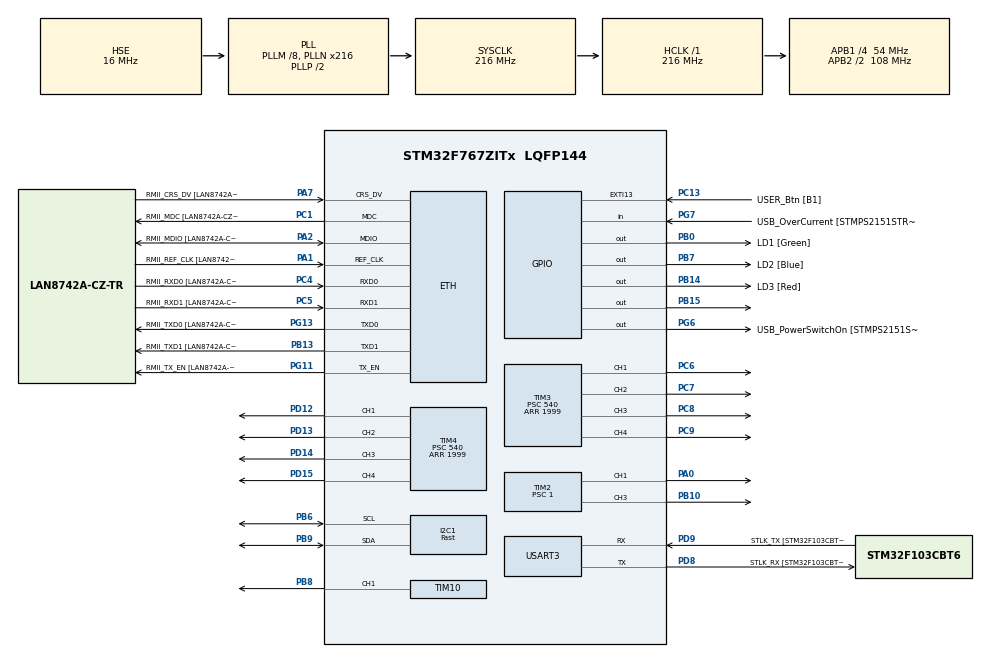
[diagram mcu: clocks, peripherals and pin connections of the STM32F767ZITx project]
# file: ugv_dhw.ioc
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CORTEX_M7.AccessPermission-Cortex_Memory_Protection_Unit_Region0_Settings=MPU_REGION_FULL_ACCESS
CORTEX_M7.BaseAddress-Cortex_Memory_Protection_Unit_Region0_Settings=0x2007c000
CORTEX_M7.CPU_DCache=Enabled
CORTEX_M7.CPU_ICache=Enabled
CORTEX_M7.DisableExec-Cortex_Memory_Protection_Unit_Region0_Settings=MPU_INSTRUCTION_ACCESS_DISABLE
CORTEX_M7.Enable-Cortex_Memory_Protection_Unit_Region0_Settings=MPU_REGION_ENABLE
CORTEX_M7.IsShareable-Cortex_Memory_Protection_Unit_Region0_Settings=MPU_ACCESS_SHAREABLE
CORTEX_M7.MPU_Control=MPU_PRIVILEGED_DEFAULT
CORTEX_M7.PREFETCH_ENABLE=1
CORTEX_M7.Size-Cortex_Memory_Protection_Unit_Region0_Settings=MPU_REGION_SIZE_16KB
CORTEX_M7.TypeExtField-Cortex_Memory_Protection_Unit_Region0_Settings=MPU_TEX_LEVEL1
ETH.MACAddr=00\:80\:E1\:00\:00\:20
ETH.MediaInterface=HAL_ETH_RMII_MODE
I2C1.I2C_Speed_Mode=I2C_Fast
I2C1.Timing=0x6000030D
LWIP.BSP.number=1
LWIP.GATEWAY_ADDRESS=192.168.040.001
LWIP.IP_ADDRESS=192.168.020.042
LWIP.LWIP_DHCP=0
LWIP.MEM_SIZE=10*1024
LWIP.NETMASK_ADDRESS=255.255.255.000
LWIP.Version=v2.1.2_Cube
LWIP0.BSP.STBoard=false
LWIP0.BSP.api=BSP_COMPONENT_DRIVER
LWIP0.BSP.component=LAN8742
LWIP0.BSP.instance=LAN8742
LWIP0.BSP.name=Driver_PHY
LWIP0.BSP.semaphore=S_LAN8742
LWIP0.BSP.solution=LAN8742
Mcu.Family=STM32F7
Mcu.Name=STM32F767ZITx
Mcu.Package=LQFP144
NVIC.ETH_IRQn=true\:0\:0\:false\:false\:true\:true\:true\:true
NVIC.I2C1_ER_IRQn=true\:0\:0\:false\:false\:true\:true\:true\:true
NVIC.I2C1_EV_IRQn=true\:0\:0\:false\:false\:true\:true\:true\:true
NVIC.PriorityGroup=NVIC_PRIORITYGROUP_4
NVIC.TIM1_BRK_TIM9_IRQn=true\:0\:0\:false\:false\:true\:true\:true\:true
NVIC.TIM1_UP_TIM10_IRQn=true\:0\:0\:false\:false\:true\:true\:true\:true
NVIC.TIM8_UP_TIM13_IRQn=true\:0\:0\:false\:false\:true\:true\:true\:true
PA0/WKUP.Signal=S_TIM2_CH1_ETR
PA1.GPIO_Label=RMII_REF_CLK [LAN8742A-CZ-TR_REFCLK0]
PA1.Mode=RMII
PA1.Signal=ETH_REF_CLK
PA10.GPIO_Label=USB_ID
PA10.Signal=USB_OTG_FS_ID
PA11.GPIO_Label=USB_DM
PA11.Signal=USB_OTG_FS_DM
PA12.GPIO_Label=USB_DP
PA12.Signal=USB_OTG_FS_DP
PA13.GPIO_Label=TMS
PA13.Signal=SYS_JTMS-SWDIO
PA14.GPIO_Label=TCK
PA14.Signal=SYS_JTCK-SWCLK
PA2.GPIO_Label=RMII_MDIO [LAN8742A-CZ-TR_MDIO]
PA2.Mode=RMII
PA2.Signal=ETH_MDIO
PA7.GPIO_Label=RMII_CRS_DV [LAN8742A-CZ-TR_CRS_DV]
PA7.Mode=RMII
PA7.Signal=ETH_CRS_DV
PA8.GPIO_Label=USB_SOF [TP1]
PA8.Signal=USB_OTG_FS_SOF
PA9.GPIO_Label=USB_VBUS
PA9.Signal=USB_OTG_FS_VBUS
PB0.GPIO_Label=LD1 [Green]
PB0.Signal=GPIO_Output
PB10.Signal=S_TIM2_CH3
PB13.GPIO_Label=RMII_TXD1 [LAN8742A-CZ-TR_TXD1]
PB13.Mode=RMII
PB13.Signal=ETH_TXD1
PB14.GPIO_Label=LD3 [Red]
PB14.Signal=GPIO_Output
PB15.Signal=GPIO_Output
PB3.GPIO_Label=SW0
PB3.Signal=SYS_JTDO-SWO
PB6.GPIO_Pu=GPIO_PULLUP
PB6.Mode=I2C
PB6.Signal=I2C1_SCL
PB7.GPIO_Label=LD2 [Blue]
PB7.Signal=GPIO_Output
PB8.Signal=S_TIM10_CH1
PB9.GPIO_Pu=GPIO_PULLUP
PB9.Mode=I2C
PB9.Signal=I2C1_SDA
PC1.GPIO_Label=RMII_MDC [LAN8742A-CZ-TR_MDC]
PC1.Mode=RMII
PC1.Signal=ETH_MDC
PC13.GPIO_Label=USER_Btn [B1]
PC13.Signal=GPXTI13
PC14/OSC32_IN.Signal=RCC_OSC32_IN
PC15/OSC32_OUT.Signal=RCC_OSC32_OUT
PC4.GPIO_Label=RMII_RXD0 [LAN8742A-CZ-TR_RXD0]
PC4.Mode=RMII
PC4.Signal=ETH_RXD0
PC5.GPIO_Label=RMII_RXD1 [LAN8742A-CZ-TR_RXD1]
PC5.Mode=RMII
PC5.Signal=ETH_RXD1
PC6.Signal=S_TIM3_CH1
PC7.Signal=S_TIM3_CH2
PC8.Signal=S_TIM3_CH3
PC9.Signal=S_TIM3_CH4
PD12.Signal=S_TIM4_CH1
PD13.Signal=S_TIM4_CH2
PD14.Signal=S_TIM4_CH3
PD15.Signal=S_TIM4_CH4
PD8.GPIO_Label=STLK_RX [STM32F103CBT6_PA3]
PD8.Mode=Asynchronous
PD8.Signal=USART3_TX
PD9.GPIO_Label=STLK_TX [STM32F103CBT6_PA2]
PD9.Mode=Asynchronous
PD9.Signal=USART3_RX
PG11.GPIO_Label=RMII_TX_EN [LAN8742A-CZ-TR_TXEN]
PG11.Mode=RMII
PG11.Signal=ETH_TX_EN
PG13.GPIO_Label=RMII_TXD0 [LAN8742A-CZ-TR_TXD0]
PG13.Mode=RMII
PG13.Signal=ETH_TXD0
PG6.GPIO_Label=USB_PowerSwitchOn [STMPS2151STR_EN]
PG6.Signal=GPIO_Output
PG7.GPIO_Label=USB_OverCurrent [STMPS2151STR_FAULT]
PG7.Signal=GPIO_Input
PH0/OSC_IN.GPIO_Label=MCO [STM32F103CBT6_PA8]
PH0/OSC_IN.Mode=HSE-External-Oscillator
PH0/OSC_IN.Signal=RCC_OSC_IN
PH1/OSC_OUT.Mode=HSE-External-Oscillator
PH1/OSC_OUT.Signal=RCC_OSC_OUT
ProjectManager.HeapSize=0x200
ProjectManager.StackSize=0x400
ProjectManager.TargetToolchain=STM32CubeIDE
RCC.48MHZClocksFreq_Value=24000000
RCC.AHBFreq_Value=216000000
RCC.APB1CLKDivider=RCC_HCLK_DIV4
RCC.APB1Freq_Value=54000000
RCC.APB1TimFreq_Value=108000000
RCC.APB2CLKDivider=RCC_HCLK_DIV2
RCC.APB2Freq_Value=108000000
RCC.APB2TimFreq_Value=216000000
RCC.CortexFreq_Value=216000000
RCC.HCLKFreq_Value=216000000
RCC.HSE_VALUE=16000000
RCC.HSI_VALUE=16000000
RCC.LSE_VALUE=32768
RCC.PLLM=8
RCC.PLLMUL=RCC_PLL_MUL9
RCC.PLLN=216
RCC.PLLSourceVirtual=RCC_PLLSOURCE_HSE
RCC.PRESCALERUSB=RCC_USBCLKSOURCE_PLL_DIV1_5
RCC.SYSCLKFreq_VALUE=216000000
RCC.SYSCLKSource=RCC_SYSCLKSOURCE_PLLCLK
RCC.SYSCLKSourceVirtual=RCC_SYSCLKSOURCE_PLLCLK
RCC.USBFreq_Value=216000000
RCC.VCOOutputFreq_Value=432000000
SH.S_TIM10_CH1.0=TIM10_CH1,PWM Generation1 CH1
SH.S_TIM2_CH1_ETR.0=TIM2_CH1,PWM Generation1 CH1
SH.S_TIM2_CH3.0=TIM2_CH3,PWM Generation3 CH3
SH.S_TIM3_CH1.0=TIM3_CH1,PWM Generation1 CH1
SH.S_TIM3_CH2.0=TIM3_CH2,PWM Generation2 CH2
SH.S_TIM3_CH3.0=TIM3_CH3,PWM Generation3 CH3
SH.S_TIM3_CH4.0=TIM3_CH4,PWM Generation4 CH4
SH.S_TIM4_CH1.0=TIM4_CH1,PWM Generation1 CH1
SH.S_TIM4_CH2.0=TIM4_CH2,PWM Generation2 CH2
SH.S_TIM4_CH3.0=TIM4_CH3,PWM Generation3 CH3
SH.S_TIM4_CH4.0=TIM4_CH4,PWM Generation4 CH4
TIM1.Period=10000
TIM1.Prescaler=10800
TIM10.AutoReloadPreload=TIM_AUTORELOAD_PRELOAD_ENABLE
TIM10.Channel=TIM_CHANNEL_1
TIM10.Period=29999
TIM10.Prescaler=71
TIM13.Period=499
TIM13.Prescaler=2700
TIM2.Channel-PWM\ Generation1\ CH1=TIM_CHANNEL_1
TIM2.Channel-PWM\ Generation3\ CH3=TIM_CHANNEL_3
TIM2.Period=32767
TIM2.Prescaler=1
TIM3.Channel-PWM\ Generation1\ CH1=TIM_CHANNEL_1
TIM3.Channel-PWM\ Generation2\ CH2=TIM_CHANNEL_2
TIM3.Channel-PWM\ Generation3\ CH3=TIM_CHANNEL_3
TIM3.Channel-PWM\ Generation4\ CH4=TIM_CHANNEL_4
TIM3.Period=1999
TIM3.Prescaler=540
TIM4.Channel-PWM\ Generation1\ CH1=TIM_CHANNEL_1
TIM4.Channel-PWM\ Generation2\ CH2=TIM_CHANNEL_2
TIM4.Channel-PWM\ Generation3\ CH3=TIM_CHANNEL_3
TIM4.Channel-PWM\ Generation4\ CH4=TIM_CHANNEL_4
TIM4.Period=1999
TIM4.Prescaler=540
USART3.VirtualMode-Asynchronous=VM_ASYNC
VP_LWIP_VS_Enabled.Mode=Enabled
VP_TIM10_VS_ClockSourceINT.Mode=Enable_Timer
VP_TIM13_VS_ClockSourceINT.Mode=Enable_Timer
VP_TIM1_VS_ClockSourceINT.Mode=Internal
board=NUCLEO-F767ZI

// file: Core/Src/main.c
/* USER CODE BEGIN Header */
/**
  ******************************************************************************
  * @file           : main.c
  * @brief          : Main program body
  ******************************************************************************
  * @attention
  *
  * Copyright (c) 2024 STMicroelectronics.
  * All rights reserved.
  *
  * This software is licensed under terms that can be found in the LICENSE file
  * in the root directory of this software component.
  * If no LICENSE file comes with this software, it is provided AS-IS.
  *
  ******************************************************************************
  */
/* USER CODE END Header */
#include "main.h"
#include "lwip.h"

/* USER CODE BEGIN Includes */
#include "lwip/pbuf.h"
#include "lwip/udp.h"
#include "lwip/tcp.h"

#include "stdio.h"
#include "string.h"

#include "ugv_servo.h"  //Include header for servo driver
#include "motor_control.h" // Motor Control Header for 2023 Driver
#include "F7_I2C_Master.h"

/* USER CODE END Includes */

/* USER CODE BEGIN PD */
#define MAX_DUTY 32767
#define TIM_3_4_ARR   (199)

/* USER CODE END PD */

I2C_HandleTypeDef hi2c1;

TIM_HandleTypeDef htim1;
TIM_HandleTypeDef htim2;
TIM_HandleTypeDef htim3;
TIM_HandleTypeDef htim4;
TIM_HandleTypeDef htim10;
TIM_HandleTypeDef htim13;

UART_HandleTypeDef huart3;

/* USER CODE BEGIN PV */
ugvServo_t elbow_servo;
ugvServo_t forarm_servo;
ugvServo_t servo3;
ugvServo_t servo4;
ugvServo_t servo5;

float elbow_duty = 0;
float forarm_duty = 0;
float servo3_duty = 0;
float servo4_duty = 0;
float servo5_duty = 0;

MotorControl ugv_drive_mtr;
// Variable to control steering angle
float steer_val = 0;
float velocity_val = 0;
float heading_error = 0;

// Temporary vars for Payload Arm Control
// arm_cmd[0] = Elbow
// arm_cmd[1] = Forarm
// arm_cmd[2] = wrist
// arm_cmd[3] = base
// arm_cmd[4] = claw

float  arm_cmds[10];

extern struct netif gnetif;
struct udp_pcb *upcb;
char buffer[100];
int counter;

/* USER CODE END PV */

void SystemClock_Config(void);
static void MPU_Config(void);
static void MX_GPIO_Init(void);
static void MX_TIM1_Init(void);
static void MX_TIM10_Init(void);
static void MX_USART3_UART_Init(void);
static void MX_TIM2_Init(void);
static void MX_TIM13_Init(void);
static void MX_I2C1_Init(void);
static void MX_TIM3_Init(void);
static void MX_TIM4_Init(void);
/* USER CODE BEGIN PFP */

void udp_receive_callback(void *arg, struct udp_pcb *upcb, struct pbuf *p,
		const ip_addr_t *addr, u16_t port);
static void udp_client_send();

void udp_client_connect();

void HAL_TIM_PeriodElapsedCallback(TIM_HandleTypeDef *htim);

/* USER CODE END PFP */

int main(void)
{

  /* MPU Configuration--------------------------------------------------------*/
  MPU_Config();
/* Enable the CPU Cache */

  /* Enable I-Cache---------------------------------------------------------*/
  SCB_EnableICache();

  /* Enable D-Cache---------------------------------------------------------*/
  SCB_EnableDCache();

  /* MCU Configuration--------------------------------------------------------*/

  /* Reset of all peripherals, Initializes the Flash interface and the Systick. */
  HAL_Init();

  /* Configure the system clock */
  SystemClock_Config();

  /* Initialize all configured peripherals */
  MX_GPIO_Init();
  MX_LWIP_Init();
  MX_TIM1_Init();
  MX_TIM10_Init();
  MX_USART3_UART_Init();
  MX_TIM2_Init();
  MX_TIM13_Init();
  MX_I2C1_Init();
  MX_TIM3_Init();
  MX_TIM4_Init();
  /* USER CODE BEGIN 2 */

	elbow_servo.timerInstance = &htim3;
	elbow_servo.timerCCRX = &TIM3->CCR1;
	elbow_servo.timerCh = TIM_CHANNEL_1;
	elbow_servo.timerARR = htim3.Init.Period;
	elbow_servo.minPulse = 500;
	elbow_servo.maxPulse = 2500;
	elbow_servo.timerPeriod = 20000;
	elbow_servo.travelAngle = 360.0;
	elbow_servo.minLimit = 0.0;
	elbow_servo.maxLimit = 270.0;
	elbow_servo.travelOffset = 270;

    forarm_servo.timerInstance = &htim3;
    forarm_servo.timerCCRX = &TIM3->CCR2;
    forarm_servo.timerCh = TIM_CHANNEL_2;
    forarm_servo.timerARR = htim3.Init.Period;
    forarm_servo.minPulse = 500;
    forarm_servo.maxPulse = 2700;
    forarm_servo.timerPeriod = 20000;
    forarm_servo.travelAngle = 360.0;
    forarm_servo.minLimit = 0;
    forarm_servo.maxLimit = 270;
    forarm_servo.travelOffset = 0;

    //Wrist Servo
    servo3.timerInstance = &htim3;
    servo3.timerCCRX = &TIM3->CCR3;
    servo3.timerCh = TIM_CHANNEL_3;
    servo3.timerARR = htim3.Init.Period;
    servo3.minPulse = 500;
    servo3.maxPulse = 2700;
    servo3.timerPeriod = 20000;
    servo3.travelAngle = 360.0;
    servo3.minLimit = 0;
    servo3.maxLimit = 270;
    servo3.travelOffset = 170;

    //Base Servo
    servo4.timerInstance = &htim3;
    servo4.timerCCRX = &TIM3->CCR4;
    servo4.timerCh = TIM_CHANNEL_4;
    servo4.timerARR = htim3.Init.Period;
    servo4.minPulse = 500;
    servo4.maxPulse = 2700;
    servo4.timerPeriod = 20000;
    servo4.travelAngle = 360.0;
    servo4.minLimit = 0;
    servo4.maxLimit = 270;
    servo4.travelOffset = 55;

    //Claw Servo
    servo5.timerInstance = &htim4;
    servo5.timerCCRX = &TIM4->CCR1;
    servo5.timerCh = TIM_CHANNEL_1;
    servo5.timerARR = htim4.Init.Period;
    servo5.minPulse = 500;
    servo5.maxPulse = 2700;
    servo5.timerPeriod = 20000;
    servo5.travelAngle = 360.0;
    servo5.minLimit = 0;
    servo5.maxLimit = 270;
    servo5.travelOffset = 0;

	ugv_servoInitServo(&elbow_servo);
	ugv_servoInitServo(&forarm_servo);
	ugv_servoInitServo(&servo3);
	ugv_servoInitServo(&servo4);
	ugv_servoInitServo(&servo5);

	// Start PWM for all of the timer 3 Channels

	udp_client_connect();

  /*
   * Start HAL timer interrupt. Interrupt occurs once every 25ms
  */
  HAL_TIM_Base_Start_IT(&htim13);

  /* USER CODE END 2 */

  /* Infinite loop */
  /* USER CODE BEGIN WHILE */
  while (1)
  {
	  ugv_servoSetAngle(&elbow_servo, elbow_duty);
	  ugv_servoSetAngle(&forarm_servo, forarm_duty);
	  ugv_servoSetAngle(&servo3, servo3_duty);
	  ugv_servoSetAngle(&servo4, servo4_duty);
	  ugv_servoSetAngle(&servo5, servo5_duty);

	  ethernetif_input(&gnetif);
	  ethernet_link_check_state(&gnetif);
	  sys_check_timeouts();

	  HAL_GPIO_TogglePin(GPIOB, GPIO_PIN_14);

    /* USER CODE END WHILE */

  }
}

void SystemClock_Config(void)
{
  RCC_OscInitTypeDef RCC_OscInitStruct = {0};
  RCC_ClkInitTypeDef RCC_ClkInitStruct = {0};

  /** Configure the main internal regulator output voltage
  */
  __HAL_RCC_PWR_CLK_ENABLE();
  __HAL_PWR_VOLTAGESCALING_CONFIG(PWR_REGULATOR_VOLTAGE_SCALE1);

  /** Initializes the RCC Oscillators according to the specified parameters
  * in the RCC_OscInitTypeDef structure.
  */
  RCC_OscInitStruct.OscillatorType = RCC_OSCILLATORTYPE_HSE;
  RCC_OscInitStruct.HSEState = RCC_HSE_ON;
  RCC_OscInitStruct.PLL.PLLState = RCC_PLL_ON;
  RCC_OscInitStruct.PLL.PLLSource = RCC_PLLSOURCE_HSE;
  RCC_OscInitStruct.PLL.PLLM = 8;
  RCC_OscInitStruct.PLL.PLLN = 216;
  RCC_OscInitStruct.PLL.PLLP = RCC_PLLP_DIV2;
  RCC_OscInitStruct.PLL.PLLQ = 2;
  RCC_OscInitStruct.PLL.PLLR = 2;
  if (HAL_RCC_OscConfig(&RCC_OscInitStruct) != HAL_OK)
  {
    Error_Handler();
  }

  /** Activate the Over-Drive mode
  */
  if (HAL_PWREx_EnableOverDrive() != HAL_OK)
  {
    Error_Handler();
  }

  /** Initializes the CPU, AHB and APB buses clocks
  */
  RCC_ClkInitStruct.ClockType = RCC_CLOCKTYPE_HCLK|RCC_CLOCKTYPE_SYSCLK
                              |RCC_CLOCKTYPE_PCLK1|RCC_CLOCKTYPE_PCLK2;
  RCC_ClkInitStruct.SYSCLKSource = RCC_SYSCLKSOURCE_PLLCLK;
  RCC_ClkInitStruct.AHBCLKDivider = RCC_SYSCLK_DIV1;
  RCC_ClkInitStruct.APB1CLKDivider = RCC_HCLK_DIV4;
  RCC_ClkInitStruct.APB2CLKDivider = RCC_HCLK_DIV2;

  if (HAL_RCC_ClockConfig(&RCC_ClkInitStruct, FLASH_LATENCY_7) != HAL_OK)
  {
    Error_Handler();
  }
}

static void MX_I2C1_Init(void)
{

  hi2c1.Instance = I2C1;
  hi2c1.Init.Timing = 0x6000030D;
  hi2c1.Init.OwnAddress1 = 0;
  hi2c1.Init.AddressingMode = I2C_ADDRESSINGMODE_7BIT;
  hi2c1.Init.DualAddressMode = I2C_DUALADDRESS_DISABLE;
  hi2c1.Init.OwnAddress2 = 0;
  hi2c1.Init.OwnAddress2Masks = I2C_OA2_NOMASK;
  hi2c1.Init.GeneralCallMode = I2C_GENERALCALL_DISABLE;
  hi2c1.Init.NoStretchMode = I2C_NOSTRETCH_DISABLE;
  if (HAL_I2C_Init(&hi2c1) != HAL_OK)
  {
    Error_Handler();
  }

  /** Configure Analogue filter
  */
  if (HAL_I2CEx_ConfigAnalogFilter(&hi2c1, I2C_ANALOGFILTER_ENABLE) != HAL_OK)
  {
    Error_Handler();
  }

  /** Configure Digital filter
  */
  if (HAL_I2CEx_ConfigDigitalFilter(&hi2c1, 0) != HAL_OK)
  {
    Error_Handler();
  }

}

static void MX_TIM1_Init(void)
{

  TIM_ClockConfigTypeDef sClockSourceConfig = {0};
  TIM_MasterConfigTypeDef sMasterConfig = {0};

  htim1.Instance = TIM1;
  htim1.Init.Prescaler = 10800;
  htim1.Init.CounterMode = TIM_COUNTERMODE_UP;
  htim1.Init.Period = 10000;
  htim1.Init.ClockDivision = TIM_CLOCKDIVISION_DIV1;
  htim1.Init.RepetitionCounter = 0;
  htim1.Init.AutoReloadPreload = TIM_AUTORELOAD_PRELOAD_DISABLE;
  if (HAL_TIM_Base_Init(&htim1) != HAL_OK)
  {
    Error_Handler();
  }
  sClockSourceConfig.ClockSource = TIM_CLOCKSOURCE_INTERNAL;
  if (HAL_TIM_ConfigClockSource(&htim1, &sClockSourceConfig) != HAL_OK)
  {
    Error_Handler();
  }
  sMasterConfig.MasterOutputTrigger = TIM_TRGO_RESET;
  sMasterConfig.MasterOutputTrigger2 = TIM_TRGO2_RESET;
  sMasterConfig.MasterSlaveMode = TIM_MASTERSLAVEMODE_DISABLE;
  if (HAL_TIMEx_MasterConfigSynchronization(&htim1, &sMasterConfig) != HAL_OK)
  {
    Error_Handler();
  }

}

static void MX_TIM2_Init(void)
{

  TIM_MasterConfigTypeDef sMasterConfig = {0};
  TIM_OC_InitTypeDef sConfigOC = {0};

  htim2.Instance = TIM2;
  htim2.Init.Prescaler = 1;
  htim2.Init.CounterMode = TIM_COUNTERMODE_UP;
  htim2.Init.Period = 32767;
  htim2.Init.ClockDivision = TIM_CLOCKDIVISION_DIV1;
  htim2.Init.AutoReloadPreload = TIM_AUTORELOAD_PRELOAD_DISABLE;
  if (HAL_TIM_PWM_Init(&htim2) != HAL_OK)
  {
    Error_Handler();
  }
  sMasterConfig.MasterOutputTrigger = TIM_TRGO_RESET;
  sMasterConfig.MasterSlaveMode = TIM_MASTERSLAVEMODE_DISABLE;
  if (HAL_TIMEx_MasterConfigSynchronization(&htim2, &sMasterConfig) != HAL_OK)
  {
    Error_Handler();
  }
  sConfigOC.OCMode = TIM_OCMODE_PWM1;
  sConfigOC.Pulse = 0;
  sConfigOC.OCPolarity = TIM_OCPOLARITY_HIGH;
  sConfigOC.OCFastMode = TIM_OCFAST_DISABLE;
  if (HAL_TIM_PWM_ConfigChannel(&htim2, &sConfigOC, TIM_CHANNEL_1) != HAL_OK)
  {
    Error_Handler();
  }
  if (HAL_TIM_PWM_ConfigChannel(&htim2, &sConfigOC, TIM_CHANNEL_3) != HAL_OK)
  {
    Error_Handler();
  }
  HAL_TIM_MspPostInit(&htim2);

}

static void MX_TIM3_Init(void)
{

  TIM_MasterConfigTypeDef sMasterConfig = {0};
  TIM_OC_InitTypeDef sConfigOC = {0};

  htim3.Instance = TIM3;
  htim3.Init.Prescaler = 540;
  htim3.Init.CounterMode = TIM_COUNTERMODE_UP;
  htim3.Init.Period = 1999;
  htim3.Init.ClockDivision = TIM_CLOCKDIVISION_DIV1;
  htim3.Init.AutoReloadPreload = TIM_AUTORELOAD_PRELOAD_DISABLE;
  if (HAL_TIM_PWM_Init(&htim3) != HAL_OK)
  {
    Error_Handler();
  }
  sMasterConfig.MasterOutputTrigger = TIM_TRGO_RESET;
  sMasterConfig.MasterSlaveMode = TIM_MASTERSLAVEMODE_DISABLE;
  if (HAL_TIMEx_MasterConfigSynchronization(&htim3, &sMasterConfig) != HAL_OK)
  {
    Error_Handler();
  }
  sConfigOC.OCMode = TIM_OCMODE_PWM1;
  sConfigOC.Pulse = 0;
  sConfigOC.OCPolarity = TIM_OCPOLARITY_HIGH;
  sConfigOC.OCFastMode = TIM_OCFAST_DISABLE;
  if (HAL_TIM_PWM_ConfigChannel(&htim3, &sConfigOC, TIM_CHANNEL_1) != HAL_OK)
  {
    Error_Handler();
  }
  if (HAL_TIM_PWM_ConfigChannel(&htim3, &sConfigOC, TIM_CHANNEL_2) != HAL_OK)
  {
    Error_Handler();
  }
  if (HAL_TIM_PWM_ConfigChannel(&htim3, &sConfigOC, TIM_CHANNEL_3) != HAL_OK)
  {
    Error_Handler();
  }
  if (HAL_TIM_PWM_ConfigChannel(&htim3, &sConfigOC, TIM_CHANNEL_4) != HAL_OK)
  {
    Error_Handler();
  }
  HAL_TIM_MspPostInit(&htim3);

}

static void MX_TIM4_Init(void)
{

  TIM_MasterConfigTypeDef sMasterConfig = {0};
  TIM_OC_InitTypeDef sConfigOC = {0};

  htim4.Instance = TIM4;
  htim4.Init.Prescaler = 540;
  htim4.Init.CounterMode = TIM_COUNTERMODE_UP;
  htim4.Init.Period = 1999;
  htim4.Init.ClockDivision = TIM_CLOCKDIVISION_DIV1;
  htim4.Init.AutoReloadPreload = TIM_AUTORELOAD_PRELOAD_DISABLE;
  if (HAL_TIM_PWM_Init(&htim4) != HAL_OK)
  {
    Error_Handler();
  }
  sMasterConfig.MasterOutputTrigger = TIM_TRGO_RESET;
  sMasterConfig.MasterSlaveMode = TIM_MASTERSLAVEMODE_DISABLE;
  if (HAL_TIMEx_MasterConfigSynchronization(&htim4, &sMasterConfig) != HAL_OK)
  {
    Error_Handler();
  }
  sConfigOC.OCMode = TIM_OCMODE_PWM1;
  sConfigOC.Pulse = 0;
  sConfigOC.OCPolarity = TIM_OCPOLARITY_HIGH;
  sConfigOC.OCFastMode = TIM_OCFAST_DISABLE;
  if (HAL_TIM_PWM_ConfigChannel(&htim4, &sConfigOC, TIM_CHANNEL_1) != HAL_OK)
  {
    Error_Handler();
  }
  if (HAL_TIM_PWM_ConfigChannel(&htim4, &sConfigOC, TIM_CHANNEL_2) != HAL_OK)
  {
    Error_Handler();
  }
  if (HAL_TIM_PWM_ConfigChannel(&htim4, &sConfigOC, TIM_CHANNEL_3) != HAL_OK)
  {
    Error_Handler();
  }
  if (HAL_TIM_PWM_ConfigChannel(&htim4, &sConfigOC, TIM_CHANNEL_4) != HAL_OK)
  {
    Error_Handler();
  }
  HAL_TIM_MspPostInit(&htim4);

}

static void MX_TIM10_Init(void)
{

  TIM_OC_InitTypeDef sConfigOC = {0};

  htim10.Instance = TIM10;
  htim10.Init.Prescaler = 71;
  htim10.Init.CounterMode = TIM_COUNTERMODE_UP;
  htim10.Init.Period = 29999;
  htim10.Init.ClockDivision = TIM_CLOCKDIVISION_DIV1;
  htim10.Init.AutoReloadPreload = TIM_AUTORELOAD_PRELOAD_ENABLE;
  if (HAL_TIM_Base_Init(&htim10) != HAL_OK)
  {
    Error_Handler();
  }
  if (HAL_TIM_PWM_Init(&htim10) != HAL_OK)
  {
    Error_Handler();
  }
  sConfigOC.OCMode = TIM_OCMODE_PWM1;
  sConfigOC.Pulse = 0;
  sConfigOC.OCPolarity = TIM_OCPOLARITY_HIGH;
  sConfigOC.OCFastMode = TIM_OCFAST_DISABLE;
  if (HAL_TIM_PWM_ConfigChannel(&htim10, &sConfigOC, TIM_CHANNEL_1) != HAL_OK)
  {
    Error_Handler();
  }
  HAL_TIM_MspPostInit(&htim10);

}

static void MX_TIM13_Init(void)
{

  htim13.Instance = TIM13;
  htim13.Init.Prescaler = 2700;
  htim13.Init.CounterMode = TIM_COUNTERMODE_UP;
  htim13.Init.Period = 499;
  htim13.Init.ClockDivision = TIM_CLOCKDIVISION_DIV1;
  htim13.Init.AutoReloadPreload = TIM_AUTORELOAD_PRELOAD_DISABLE;
  if (HAL_TIM_Base_Init(&htim13) != HAL_OK)
  {
    Error_Handler();
  }

}

static void MX_USART3_UART_Init(void)
{

  huart3.Instance = USART3;
  huart3.Init.BaudRate = 115200;
  huart3.Init.WordLength = UART_WORDLENGTH_8B;
  huart3.Init.StopBits = UART_STOPBITS_1;
  huart3.Init.Parity = UART_PARITY_NONE;
  huart3.Init.Mode = UART_MODE_TX_RX;
  huart3.Init.HwFlowCtl = UART_HWCONTROL_NONE;
  huart3.Init.OverSampling = UART_OVERSAMPLING_16;
  huart3.Init.OneBitSampling = UART_ONE_BIT_SAMPLE_DISABLE;
  huart3.AdvancedInit.AdvFeatureInit = UART_ADVFEATURE_NO_INIT;
  if (HAL_UART_Init(&huart3) != HAL_OK)
  {
    Error_Handler();
  }

}

static void MX_GPIO_Init(void)
{
  GPIO_InitTypeDef GPIO_InitStruct = {0};

  /* GPIO Ports Clock Enable */
  __HAL_RCC_GPIOC_CLK_ENABLE();
  __HAL_RCC_GPIOH_CLK_ENABLE();
  __HAL_RCC_GPIOA_CLK_ENABLE();
  __HAL_RCC_GPIOB_CLK_ENABLE();
  __HAL_RCC_GPIOD_CLK_ENABLE();
  __HAL_RCC_GPIOG_CLK_ENABLE();

  /*Configure GPIO pin Output Level */
  HAL_GPIO_WritePin(GPIOB, LD1_Pin|LD3_Pin|GPIO_PIN_15|LD2_Pin, GPIO_PIN_RESET);

  /*Configure GPIO pin Output Level */
  HAL_GPIO_WritePin(USB_PowerSwitchOn_GPIO_Port, USB_PowerSwitchOn_Pin, GPIO_PIN_RESET);

  /*Configure GPIO pin : USER_Btn_Pin */
  GPIO_InitStruct.Pin = USER_Btn_Pin;
  GPIO_InitStruct.Mode = GPIO_MODE_IT_RISING;
  GPIO_InitStruct.Pull = GPIO_NOPULL;
  HAL_GPIO_Init(USER_Btn_GPIO_Port, &GPIO_InitStruct);

  /*Configure GPIO pins : LD1_Pin LD3_Pin PB15 LD2_Pin */
  GPIO_InitStruct.Pin = LD1_Pin|LD3_Pin|GPIO_PIN_15|LD2_Pin;
  GPIO_InitStruct.Mode = GPIO_MODE_OUTPUT_PP;
  GPIO_InitStruct.Pull = GPIO_NOPULL;
  GPIO_InitStruct.Speed = GPIO_SPEED_FREQ_LOW;
  HAL_GPIO_Init(GPIOB, &GPIO_InitStruct);

  /*Configure GPIO pin : USB_PowerSwitchOn_Pin */
  GPIO_InitStruct.Pin = USB_PowerSwitchOn_Pin;
  GPIO_InitStruct.Mode = GPIO_MODE_OUTPUT_PP;
  GPIO_InitStruct.Pull = GPIO_NOPULL;
  GPIO_InitStruct.Speed = GPIO_SPEED_FREQ_LOW;
  HAL_GPIO_Init(USB_PowerSwitchOn_GPIO_Port, &GPIO_InitStruct);

  /*Configure GPIO pin : USB_OverCurrent_Pin */
  GPIO_InitStruct.Pin = USB_OverCurrent_Pin;
  GPIO_InitStruct.Mode = GPIO_MODE_INPUT;
  GPIO_InitStruct.Pull = GPIO_NOPULL;
  HAL_GPIO_Init(USB_OverCurrent_GPIO_Port, &GPIO_InitStruct);

  /*Configure GPIO pins : USB_SOF_Pin USB_ID_Pin USB_DM_Pin USB_DP_Pin */
  GPIO_InitStruct.Pin = USB_SOF_Pin|USB_ID_Pin|USB_DM_Pin|USB_DP_Pin;
  GPIO_InitStruct.Mode = GPIO_MODE_AF_PP;
  GPIO_InitStruct.Pull = GPIO_NOPULL;
  GPIO_InitStruct.Speed = GPIO_SPEED_FREQ_VERY_HIGH;
  GPIO_InitStruct.Alternate = GPIO_AF10_OTG_FS;
  HAL_GPIO_Init(GPIOA, &GPIO_InitStruct);

  /*Configure GPIO pin : USB_VBUS_Pin */
  GPIO_InitStruct.Pin = USB_VBUS_Pin;
  GPIO_InitStruct.Mode = GPIO_MODE_INPUT;
  GPIO_InitStruct.Pull = GPIO_NOPULL;
  HAL_GPIO_Init(USB_VBUS_GPIO_Port, &GPIO_InitStruct);

}

/* USER CODE BEGIN 4 */

/*
 * The timer callback is executing the heading control loop every T = $(50ms)
 *
 */

void HAL_TIM_PeriodElapsedCallback(TIM_HandleTypeDef *htim)
{
//	HAL_GPIO_TogglePin(GPIOB, GPIO_PIN_14);
//	F7_i2c_master.buffSize = sprintf((char *)F7_i2c_master.TxBuffer, "%d, %d, %d", 10, 20, 0); //Temporarily hard-coding buffer size
//	HAL_I2C_Master_Transmit_IT(F7_i2c_master.I2C_Handle, (MASTER_W(F3_SLAVE_ADDRESS)), (uint8_t *)F7_i2c_master.TxBuffer, F7_i2c_master.buffSize);
}

/*
 * The function creates a udp protocol control block
 * Creates a structure that contains an IPv4 address of the nucleo
 * Binds the protocol control block to the ip address and port of the nucleo
 * Creates the IP address of the device that the nucleo will be communicating with
 * Connects the udp protocol control block to the remote ip address
 * Checks if udp_connect() is successful
 */

void udp_client_connect()
{
	err_t err;
	const uint16_t DRIVE_STM_PORT = 8;
	const uint16_t JETSON_PORT = 54321;

	upcb = udp_new(); 	// Create a new UDP control block. Need to check for NULL return

	ip_addr_t my_ip;
	IP_ADDR4(&my_ip, 192, 168, 20, 42); //DHW STM IP address
	udp_bind(upcb, &my_ip, DRIVE_STM_PORT);

	// Configure destination IP address
	// Host ip address: 192.168.20.5
	// Arbitrary port # selection: 54321
	ip_addr_t DestIPaddr;
	IP_ADDR4(&DestIPaddr, 192, 168, 20, 5);  //Jetson Orin Nano host ip address
	err = udp_connect(upcb, &DestIPaddr, JETSON_PORT);

	if (err == HAL_OK)
	{
		// Blue LED
		HAL_GPIO_TogglePin(GPIOB, GPIO_PIN_7);
		udp_recv(upcb, udp_receive_callback, NULL);
	}
}

static void udp_client_send()
{
	struct pbuf *tx_buff;
	char data[100];

	int len = sprintf(data, "Sending UDP client message: %d", counter);

	// Allocate pbuf from pool
	tx_buff = pbuf_alloc(PBUF_TRANSPORT, len, PBUF_RAM);

	if (tx_buff != NULL)
	{
		// Copy data into pbuf
		pbuf_take(tx_buff, data, len);

		// Send udp data
		udp_send(upcb, tx_buff);

		// Free pbuf
		pbuf_free(tx_buff);
	}
}

void udp_receive_callback(void *arg, struct udp_pcb *upcb, struct pbuf *p,
		const ip_addr_t *addr, u16_t port)
{
	// Copy data from the pbuf
	strncpy(buffer, (char *)p->payload, p->len);

	//Parse Input
	uint8_t data_index = 0;
	float drive_vals[10] = {0};
	char *buffer_data = strtok(buffer, ",");
	while (buffer_data != NULL && data_index < 10)
	{
		float conv_check = atof(buffer_data);
		//Make data was converted properly
		if (conv_check == 0)
		{
			HAL_GPIO_TogglePin(GPIOB, GPIO_PIN_14);
		}

		drive_vals[data_index] = conv_check;

		++data_index;
		buffer_data = strtok(NULL, ",");
	}

	// Temporary vars for Payload Arm Control
	// arm_cmd[0] = Elbow
	// arm_cmd[1] = Forarm
	// arm_cmd[2] = wrist
	// arm_cmd[3] = base
	// arm_cmd[4] = claw

	// Free receive pbuf;
	pbuf_free(p);

	elbow_duty = drive_vals[0];
	forarm_duty = drive_vals[1];
	servo3_duty = drive_vals[2];
	servo4_duty = drive_vals[3];
	servo5_duty = drive_vals[4];

	//Might need to reset drive_vals to 0
	HAL_GPIO_TogglePin(GPIOB, GPIO_PIN_0);
	memset(buffer, '0', sizeof(buffer));
}

/* USER CODE END 4 */

/* MPU Configuration */

void MPU_Config(void)
{
  MPU_Region_InitTypeDef MPU_InitStruct = {0};

  /* Disables the MPU */
  HAL_MPU_Disable();

  /** Initializes and configures the Region and the memory to be protected
  */
  MPU_InitStruct.Enable = MPU_REGION_ENABLE;
  MPU_InitStruct.Number = MPU_REGION_NUMBER0;
  MPU_InitStruct.BaseAddress = 0x2007c000;
  MPU_InitStruct.Size = MPU_REGION_SIZE_16KB;
  MPU_InitStruct.SubRegionDisable = 0x0;
  MPU_InitStruct.TypeExtField = MPU_TEX_LEVEL1;
  MPU_InitStruct.AccessPermission = MPU_REGION_FULL_ACCESS;
  MPU_InitStruct.DisableExec = MPU_INSTRUCTION_ACCESS_DISABLE;
  MPU_InitStruct.IsShareable = MPU_ACCESS_SHAREABLE;
  MPU_InitStruct.IsCacheable = MPU_ACCESS_NOT_CACHEABLE;
  MPU_InitStruct.IsBufferable = MPU_ACCESS_NOT_BUFFERABLE;

  HAL_MPU_ConfigRegion(&MPU_InitStruct);
  /* Enables the MPU */
  HAL_MPU_Enable(MPU_PRIVILEGED_DEFAULT);

}

void Error_Handler(void)
{
  __disable_irq();
  while (1)
  {
  }
}
